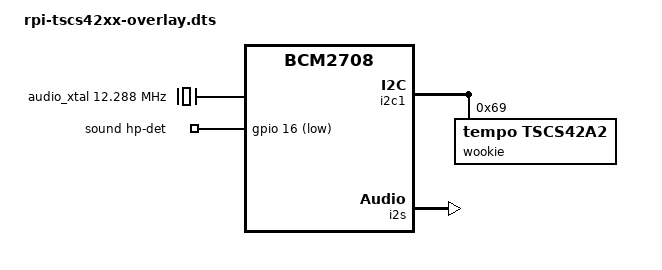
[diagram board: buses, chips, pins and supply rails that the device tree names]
// Definitions for Tempo Semiconductor tscs42xx 
/dts-v1/;
/plugin/;

/ {
	compatible = "brcm,bcm2708";

	fragment@0 {
		target-path = "/";
		__overlay__ {
			audio_xtal: xtal {
				#clock-cells = <0>;
				compatible = "fixed-clock";
				clock-frequency = <12288000>;
				status = "okay";
			};
		};
	};

	fragment@1 {
		target = <&i2c1>;
		__overlay__ {
			#address-cells = <1>;
			#size-cells = <0>;
			status = "okay";
			wookie: codec@69 {
				#sound-dai-cells = <0>;
				compatible = "tempo,tscs42A2";
				reg = <0x69>;
				clock-names = "xtal";
				clocks = <&audio_xtal>;
				status = "okay";
			};
		};
	};

	fragment@2 {
		target = <&i2s>;
		__overlay__ {
			status = "okay";
		};
	};

	fragment@3 {
		target = <&sound>;
		__overlay__ {
			compatible = "simple-audio-card";
			simple-audio-card,name = "Simple Wookie Card";
			simple-audio-card,format = "i2s";
			simple-audio-card,bitclock-master = <&dailink0_master>;
			simple-audio-card,frame-master = <&dailink0_master>;
			simple-audio-card,widgets =
				"Speaker", "Speakers",
				"Headphone", "Headphones",
				"Microphone", "Analog Mic",
				"Microphone", "Digital Mic",
				"Line", "Line In";
			simple-audio-card,routing =
				"Headphones", "Headphone L",
				"Headphones", "Headphone R",
				"Speakers", "Speaker L",
				"Speakers", "Speaker R",
				"Line In 3 L", "Digital Mic",
				"Line In 3 R", "Digital Mic",
				"Digital Mic", "Digital Mic Enable",
				"Line In 1 L", "Analog Mic",
				"Line In 1 R", "Analog Mic",
				"Analog Mic", "Mic Bias",
				"Line In 2 L", "Line In",
				"Line In 2 R", "Line In";
			simple-audio-card,hp-det-gpio = <&gpio 16 1>;
			status = "okay";
			simple-audio-card,cpu {
				sound-dai = <&i2s>;
			};
			dailink0_master: simple-audio-card,codec {
				sound-dai = <&wookie>;
			};
		};
	};
};
